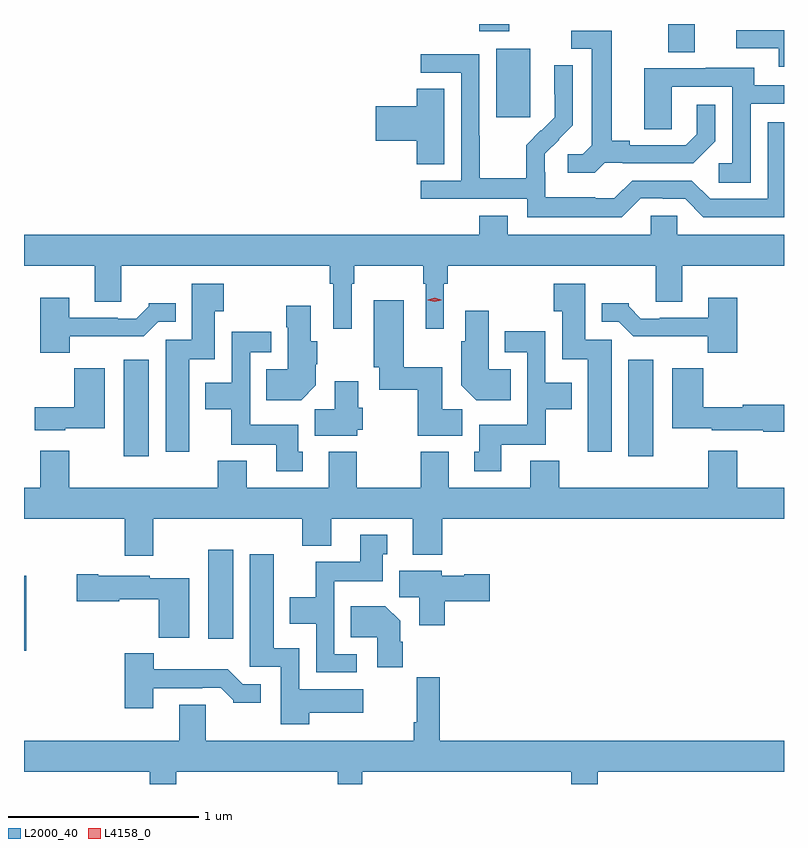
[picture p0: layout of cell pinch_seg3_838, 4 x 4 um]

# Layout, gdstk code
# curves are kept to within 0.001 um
import gdstk
lib = gdstk.Library(unit=1e-6, precision=1e-09)
def R(c, l, rs):  # rectangles x0, y0, x1, y1
    for r in rs: c.add(gdstk.rectangle(r[:2], r[2:], *l))
def P(c, l, *ps):  # polygons
    for p in ps: c.add(gdstk.Polygon(p, *l))
L2000_40 = (2000, 40)
L4158_0 = (4158, 0)

pinch_seg3_838 = lib.new_cell('pinch_seg3_838')
R(pinch_seg3_838, L2000_40, [(748.03,712.209,748.043,712.603), (749,712.272,749.131,712.741), (748.556,713.232,748.687,713.74), (751.211,713.232,751.342,713.74), (750.515,715.017,750.694,715.378), (751.421,715.36,751.561,715.508), (750.425,715.469,750.585,715.508)])
P(pinch_seg3_838, L2000_40, [(752.03,715.476),(751.779,715.476),(751.779,715.38),(752.003,715.38),(752.003,715.284),(752.03,715.284)],
  [(751.086,714.777),(751.18,714.777),(751.18,714.774),(751.552,714.774),(751.668,714.89),(751.668,715.084),(751.571,715.084),(751.571,714.927),(751.514,714.87),(751.219,714.87),(751.219,714.893),(751.123,714.893),(751.123,715.473),(750.909,715.473),(750.909,715.377),(751.019,715.377),(751.019,714.869),(750.972,714.822),(750.891,714.822),(750.891,714.725),(751.034,714.725)],
  [(751.275,714.591),(751.391,714.591),(751.391,714.588),(751.509,714.588),(751.605,714.492),(752.03,714.492),(752.03,714.99),(751.944,714.99),(751.944,714.588),(751.641,714.588),(751.545,714.684),(751.23,714.684),(751.137,714.591),(751.037,714.591),(751.037,714.595),(750.774,714.595),(750.774,714.729),(750.772,714.729),(750.772,714.826),(750.918,714.974),(750.918,715.292),(750.822,715.292),(750.822,715.138),(750.824,715.138),(750.824,715.016),(750.753,714.945),(750.75,714.948),(750.673,714.871),(750.673,714.697),(750.429,714.697),(750.429,714.92),(750.426,714.92),(750.426,715.35),(750.117,715.35),(750.117,715.251),(750.33,715.251),(750.33,714.684),(750.117,714.684),(750.117,714.588),(750.678,714.588),(750.678,714.491),(751.175,714.491)],
  [(751.854,715.089),(752.03,715.089),(752.03,715.185),(751.873,715.185),(751.873,715.279),(751.619,715.279),(751.619,715.275),(751.295,715.275),(751.295,714.955),(751.44,714.955),(751.44,715.179),(751.758,715.179),(751.758,714.774),(751.686,714.774),(751.686,714.673),(751.854,714.673)],
  [(750.241,715.166),(750.098,715.166),(750.098,715.076),(749.88,715.076),(749.88,714.893),(750.098,714.893),(750.098,714.769),(750.241,714.769)],
  [(749.754,714.14),(749.767,714.14),(749.767,714.236),(750.132,714.236),(750.132,714.14),(750.144,714.14),(750.144,713.904),(750.24,713.904),(750.24,714.14),(750.26,714.14),(750.26,714.236),(751.355,714.236),(751.355,714.046),(751.495,714.046),(751.495,714.236),(752.03,714.236),(752.03,714.4),(751.467,714.4),(751.467,714.498),(751.329,714.498),(751.329,714.4),(750.577,714.4),(750.577,714.499),(750.425,714.499),(750.425,714.4),(748.03,714.4),(748.03,714.236),(748.403,714.236),(748.403,714.046),(748.543,714.046),(748.543,714.236),(749.638,714.236),(749.638,714.14),(749.658,714.14),(749.658,713.904),(749.754,713.904)],
  [(748.9,713.744),(749.035,713.744),(749.035,713.995),(749.082,713.995),(749.082,714.142),(748.913,714.142),(748.913,713.847),(748.775,713.847),(748.775,713.256),(748.9,713.256)],
  [(751.123,713.847),(750.985,713.847),(750.985,714.142),(750.817,714.142),(750.817,713.995),(750.863,713.995),(750.863,713.744),(750.998,713.744),(750.998,713.256),(751.123,713.256)],
  [(748.27,713.864),(748.661,713.864),(748.737,713.94),(748.828,713.94),(748.828,714.037),(748.686,714.037),(748.686,714.022),(748.622,713.958),(748.523,713.958),(748.523,713.961),(748.267,713.961),(748.267,714.067),(748.115,714.067),(748.115,713.777),(748.27,713.777)],
  [(751.784,714.067),(751.631,714.067),(751.631,713.961),(751.375,713.961),(751.375,713.958),(751.276,713.958),(751.212,714.022),(751.212,714.037),(751.07,714.037),(751.07,713.94),(751.161,713.94),(751.237,713.864),(751.629,713.864),(751.629,713.777),(751.784,713.777)],
  [(750.337,713.48),(750.232,713.48),(750.232,713.702),(750.028,713.702),(750.028,714.055),(749.87,714.055),(749.87,713.702),(749.9,713.702),(749.9,713.584),(750.103,713.584),(750.103,713.342),(750.337,713.342)],
  [(749.566,713.606),(749.566,713.716),(749.574,713.716),(749.574,713.838),(749.539,713.838),(749.539,714.025),(749.41,714.025),(749.41,713.912),(749.417,713.912),(749.417,713.692),(749.305,713.692),(749.305,713.528),(749.488,713.528)],
  [(750.593,713.692),(750.475,713.692),(750.475,713.998),(750.353,713.998),(750.353,713.838),(750.332,713.838),(750.332,713.606),(750.41,713.528),(750.593,713.528)],
  [(750.541,713.294),(750.777,713.294),(750.777,713.48),(750.913,713.48),(750.913,713.62),(750.774,713.62),(750.774,713.89),(750.561,713.89),(750.561,713.781),(750.678,713.781),(750.678,713.398),(750.425,713.398),(750.425,713.256),(750.401,713.256),(750.401,713.154),(750.541,713.154)],
  [(749.497,713.256),(749.473,713.256),(749.473,713.398),(749.22,713.398),(749.22,713.781),(749.332,713.781),(749.332,713.889),(749.124,713.889),(749.124,713.62),(748.985,713.62),(748.985,713.48),(749.122,713.48),(749.122,713.294),(749.357,713.294),(749.357,713.154),(749.497,713.154)],
  [(748.248,713.381),(748.456,713.381),(748.456,713.695),(748.294,713.695),(748.294,713.491),(748.086,713.491),(748.086,713.369),(748.248,713.369)],
  [(752.03,713.504),(751.812,713.504),(751.812,713.491),(751.604,713.491),(751.604,713.695),(751.442,713.695),(751.442,713.381),(751.65,713.381),(751.65,713.369),(751.922,713.369),(751.922,713.362),(752.03,713.362)],
  [(749.784,713.373),(749.814,713.373),(749.814,713.487),(749.788,713.487),(749.788,713.629),(749.666,713.629),(749.666,713.48),(749.561,713.48),(749.561,713.342),(749.784,713.342)],
  [(748.711,712.904),(749.495,712.904),(749.495,712.763),(749.647,712.763),(749.647,712.904),(750.077,712.904),(750.077,712.715),(750.23,712.715),(750.23,712.904),(752.03,712.904),(752.03,713.068),(751.784,713.068),(751.784,713.263),(751.631,713.263),(751.631,713.068),(750.848,713.068),(750.848,713.209),(750.695,713.209),(750.695,713.068),(750.265,713.068),(750.265,713.257),(750.118,713.257),(750.118,713.068),(749.781,713.068),(749.781,713.257),(749.633,713.257),(749.633,713.068),(749.203,713.068),(749.203,713.209),(749.051,713.209),(749.051,713.068),(748.267,713.068),(748.267,713.263),(748.115,713.263),(748.115,713.068),(748.03,713.068),(748.03,712.904),(748.559,712.904),(748.559,712.71),(748.711,712.71)],
  [(749.782,712.191),(749.664,712.191),(749.664,712.574),(749.917,712.574),(749.917,712.716),(749.941,712.716),(749.941,712.819),(749.801,712.819),(749.801,712.678),(749.566,712.678),(749.566,712.492),(749.429,712.492),(749.429,712.352),(749.568,712.352),(749.568,712.095),(749.782,712.095)],
  [(749.531,711.884),(749.815,711.884),(749.815,712.006),(749.478,712.006),(749.478,712.222),(749.344,712.222),(749.344,712.717),(749.219,712.717),(749.219,712.125),(749.382,712.125),(749.382,711.822),(749.531,711.822)],
  [(750.245,712.469),(750.481,712.469),(750.481,712.611),(750.348,712.611),(750.348,712.603),(750.228,712.603),(750.228,712.63),(750.005,712.63),(750.005,712.492),(750.11,712.492),(750.11,712.344),(750.245,712.344)],
  [(748.9,712.591),(748.692,712.591),(748.692,712.603),(748.42,712.603),(748.42,712.611),(748.308,712.611),(748.308,712.469),(748.53,712.469),(748.53,712.481),(748.738,712.481),(748.738,712.277),(748.9,712.277)],
  [(750.023,712.256),(750.01,712.256),(750.01,712.366),(749.932,712.444),(749.749,712.444),(749.749,712.28),(749.888,712.28),(749.888,712.122),(750.023,712.122)],
  [(748.711,712.011),(748.967,712.011),(748.967,712.014),(749.066,712.014),(749.13,711.95),(749.13,711.935),(749.275,711.935),(749.275,712.032),(749.181,712.032),(749.103,712.111),(748.714,712.111),(748.714,712.195),(748.559,712.195),(748.559,711.906),(748.711,711.906)],
  [(749.809,711.572),(750.911,711.572),(750.911,711.508),(751.051,711.508),(751.051,711.572),(752.03,711.572),(752.03,711.736),(750.218,711.736),(750.218,712.069),(750.097,712.069),(750.097,711.832),(750.082,711.832),(750.082,711.736),(748.987,711.736),(748.987,711.926),(748.847,711.926),(748.847,711.736),(748.03,711.736),(748.03,711.572),(748.691,711.572),(748.691,711.508),(748.831,711.508),(748.831,711.572),(749.68,711.572),(749.68,711.508),(749.809,711.508)])
P(pinch_seg3_838, L4158_0, [(750.191,714.046),(750.156,714.055),(750.156,714.056),(750.156,714.056),(750.191,714.066),(750.227,714.056),(750.227,714.056),(750.227,714.055)])

lib.write_gds('pinch_seg3_838.gds')
